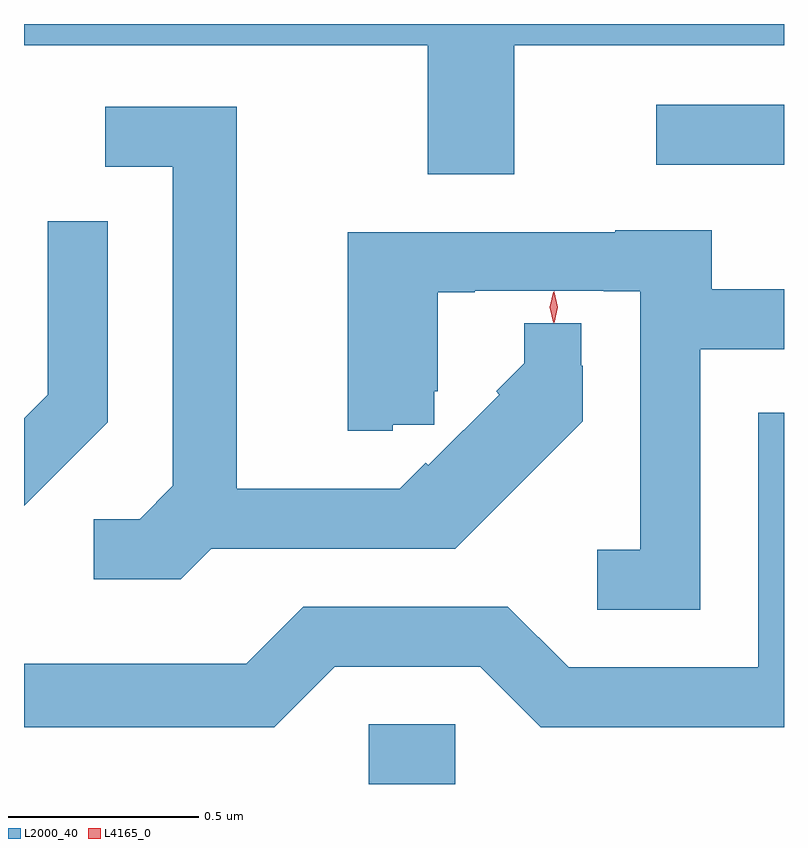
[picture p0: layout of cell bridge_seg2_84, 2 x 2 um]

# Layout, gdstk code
import gdstk
lib = gdstk.Library(unit=1e-6, precision=1e-09)
def R(c, l, rs):  # rectangles x0, y0, x1, y1
    for r in rs: c.add(gdstk.rectangle(r[:2], r[2:], *l))
def P(c, l, *ps):  # polygons
    for p in ps: c.add(gdstk.Polygon(p, *l))
L2000_40 = (2000, 40)
L4165_0 = (4165, 0)

bridge_seg2_84 = lib.new_cell('bridge_seg2_84')
R(bridge_seg2_84, L2000_40, [(1215.956,1110.752,1216.184,1110.909), (1216.713,1112.381,1217.049,1112.539)])
P(bridge_seg2_84, L2000_40, [(1216.339,1112.696),(1217.049,1112.696),(1217.049,1112.752),(1215.049,1112.752),(1215.049,1112.696),(1216.111,1112.696),(1216.111,1112.356),(1216.339,1112.356)],
  [(1215.542,1111.371),(1216.184,1111.371),(1216.519,1111.707),(1216.519,1111.853),(1216.516,1111.853),(1216.516,1111.965),(1216.365,1111.965),(1216.365,1111.859),(1216.292,1111.785),(1216.3,1111.777),(1216.113,1111.591),(1216.106,1111.597),(1216.038,1111.529),(1215.609,1111.529),(1215.609,1112.534),(1215.263,1112.534),(1215.263,1112.376),(1215.441,1112.376),(1215.441,1111.537),(1215.354,1111.449),(1215.233,1111.449),(1215.233,1111.291),(1215.462,1111.291)],
  [(1215.269,1111.704),(1215.269,1112.233),(1215.111,1112.233),(1215.111,1111.777),(1215.049,1111.715),(1215.049,1111.484)],
  [(1216.829,1111.896),(1217.049,1111.896),(1217.049,1112.054),(1216.859,1112.054),(1216.859,1112.209),(1216.605,1112.209),(1216.605,1112.204),(1215.901,1112.204),(1215.901,1111.681),(1216.02,1111.681),(1216.02,1111.698),(1216.128,1111.698),(1216.128,1111.785),(1216.138,1111.785),(1216.138,1112.046),(1216.235,1112.046),(1216.235,1112.05),(1216.575,1112.05),(1216.575,1112.049),(1216.671,1112.049),(1216.671,1111.369),(1216.558,1111.369),(1216.558,1111.211),(1216.829,1111.211)],
  [(1215.867,1111.061),(1216.249,1111.061),(1216.409,1110.901),(1217.049,1110.901),(1217.049,1111.729),(1216.981,1111.729),(1216.981,1111.059),(1216.482,1111.059),(1216.322,1111.219),(1215.784,1111.219),(1215.634,1111.069),(1215.049,1111.069),(1215.049,1110.901),(1215.707,1110.901)])
P(bridge_seg2_84, L4165_0, [(1216.442,1111.966),(1216.442,1111.967),(1216.432,1112.006),(1216.442,1112.046),(1216.442,1112.046),(1216.443,1112.046),(1216.452,1112.006),(1216.442,1111.967)],
  [(1216.444,1111.964),(1216.444,1111.964),(1216.435,1112.006),(1216.444,1112.048),(1216.445,1112.049),(1216.445,1112.048),(1216.454,1112.006),(1216.445,1111.964)])

lib.write_gds('bridge_seg2_84.gds')
